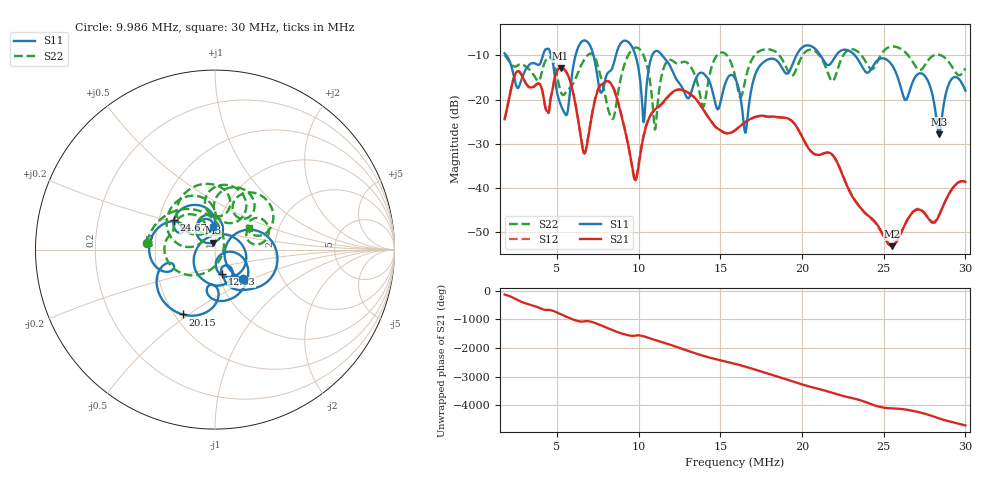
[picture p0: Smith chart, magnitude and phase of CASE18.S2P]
!Agilent Technologies,E5061B,MY49101568,A.02.00
!Date: Wed Mar 01 15:35:58 2023
!Data & Calibration Information:
!Freq	S11:SOLT2(OFF)	S21:SOLT2(OFF)	S12:SOLT2(OFF)	S22:SOLT2(OFF)
# Hz S dB R 50
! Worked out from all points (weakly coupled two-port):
!   1155 points, 1.8 MHz to 30 MHz, reference 50 ohm
!   highest |S21| = -12.89 dB at 5.221 MHz (marker M1); lowest = -53.1 dB at 25.5 MHz (marker M2)
!   lowest |S11| = -27.9 dB at 28.39 MHz (marker M3), VSWR 1.08, Z = 48.8 + j3.82 ohm
!   |S11| at or under -10 dB: 1.905 MHz to 4.144 MHz (2.24 MHz wide, 74 % of centre); 11.44 MHz to 19.66 MHz (8.211 MHz wide, 52.8 % of centre); 23.24 MHz to end of sweep (the widest 3 of 7)
!   |S22| runs from -26.8 to -8.0 dB; largest |S21 - S12| = 0.004
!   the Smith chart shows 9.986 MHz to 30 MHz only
!   S11 on the Smith chart (normalised r, x): 9.986 MHz: 1.29, -0.45; 12.63 MHz: 1.04, -0.29; 20.15 MHz: 0.55, -0.47; 24.67 MHz: 0.60, +0.22; 30 MHz: 0.95, +0.24
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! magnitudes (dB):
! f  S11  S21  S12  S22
! 1.8 MHz  -9.5  -24.4  -24.4  -9.9
! 2.606 MHz  -17.4  -13.6  -13.5  -12.2
! 4.464 MHz  -8.5  -22.9  -22.9  -10.5
! 5.221 MHz  -21.0  -12.9  -12.9  -18.1
! 6.516 MHz  -6.9  -29.9  -29.6  -12.0
! 8.154 MHz  -13.8  -15.9  -15.8  -22.4
! 9.986 MHz  -12.8  -35.3  -34.8  -8.4
! 10.33 MHz  -25.0  -27.9  -27.7  -10.2
! 11.21 MHz  -9.1  -21.6  -21.7  -19.4
! 12.63 MHz  -17.0  -17.8  -17.8  -11.6
! 13.95 MHz  -14.0  -22.2  -22.2  -21.6
! 14.87 MHz  -22.1  -26.6  -26.6  -9.7
! 15.9 MHz  -15.1  -26.9  -27.0  -14.6
! 16.54 MHz  -27.5  -25.0  -25.1  -15.5
! 17.39 MHz  -12.5  -23.7  -23.8  -9.0
! 20.15 MHz  -7.9  -29.5  -29.4  -9.4
! 20.62 MHz  -8.0  -31.9  -31.9  -8.8
! 24.67 MHz  -11.0  -48.7  -48.8  -10.9
! 25.31 MHz  -11.3  -52.8  -52.6  -8.2
! 25.5 MHz  -12.2  -53.1  -52.9  -8.0
! 28.39 MHz  -27.9  -46.2  -46.1  -9.9
! 30 MHz  -17.9  -38.6  -38.5  -12.9
